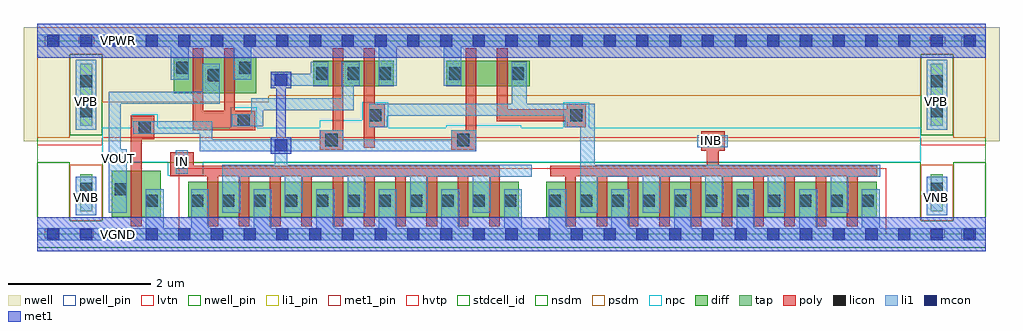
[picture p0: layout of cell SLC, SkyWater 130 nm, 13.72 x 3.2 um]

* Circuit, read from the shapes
.subckt SLC IN INB VGND VNB VOUT VPB VPWR
XM1 VGND n1 VOUT VNB sky130_fd_pr__nfet_01v8 w=0.65 l=0.15
XM2 n1 IN VGND VNB sky130_fd_pr__nfet_01v8_lvt w=0.5 l=0.15 m=10
XM3 n2 INB VGND VNB sky130_fd_pr__nfet_01v8_lvt w=0.5 l=0.15 m=10
XM4 VOUT n3 VPWR VPB sky130_fd_pr__pfet_01v8_hvt w=0.5 l=0.15 m=2
XM5 n3 n1 n1 VPB sky130_fd_pr__pfet_01v8_hvt w=0.36 l=0.15
XM6 VPWR n2 n3 VPB sky130_fd_pr__pfet_01v8_hvt w=0.36 l=0.15
XM7 n4 n1 VPWR VPB sky130_fd_pr__pfet_01v8_hvt w=0.36 l=0.15
XM8 n2 n2 n4 VPB sky130_fd_pr__pfet_01v8_hvt w=0.36 l=0.15
.ends

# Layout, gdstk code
import gdstk
lib = gdstk.Library(unit=1e-6, precision=1e-09)
def R(c, l, rs):  # rectangles x0, y0, x1, y1
    for r in rs: c.add(gdstk.rectangle(r[:2], r[2:], *l))
def A(c, l, x, y, w, h, nx, ny, dx, dy):  # array of equal rectangles
    R(c, l, [(x+i*dx, y+j*dy, x+i*dx+w, y+j*dy+h) for i in range(nx) for j in range(ny)])
def P(c, l, *ps):  # polygons
    for p in ps: c.add(gdstk.Polygon(p, *l))
nwell_pin = (64, 16)
nwell = (64, 20)
diff = (65, 20)
tap = (65, 44)
poly = (66, 20)
licon = (66, 44)
li1_pin = (67, 16)
li1 = (67, 20)
mcon = (67, 44)
met1_pin = (68, 16)
met1 = (68, 20)
hvtp = (78, 44)
stdcell_id = (81, 4)
nsdm = (93, 44)
psdm = (94, 20)
npc = (95, 20)
pwell_pin = (122, 16)
lvtn = (125, 44)

sky130_fd_sc_hd__tap_1 = lib.new_cell('sky130_fd_sc_hd__tap_1')
R(sky130_fd_sc_hd__tap_1, nwell, [(-0.19,1.305,0.65,2.91)])
R(sky130_fd_sc_hd__tap_1, tap, [(0.145,0.32,0.315,0.845), (0.145,1.525,0.315,2.4)])
R(sky130_fd_sc_hd__tap_1, licon, [(0.145,0.555,0.315,0.725), (0.145,1.645,0.315,1.815), (0.145,2.065,0.315,2.235)])
R(sky130_fd_sc_hd__tap_1, li1_pin, [(0.19,0.47,0.27,0.565), (0.145,1.81,0.285,1.93)])
R(sky130_fd_sc_hd__tap_1, li1, [(0.085,0.265,0.375,0.81), (0.085,1.47,0.375,2.455)])
R(sky130_fd_sc_hd__tap_1, mcon, [(0.145,-0.085,0.315,0.085), (0.145,2.635,0.315,2.805)])
R(sky130_fd_sc_hd__tap_1, met1_pin, [(0.14,-0.05,0.34,0.07), (0.13,2.675,0.345,2.775)])
R(sky130_fd_sc_hd__tap_1, hvtp, [(0,1.25,0.46,2.72)])
R(sky130_fd_sc_hd__tap_1, stdcell_id, [(0,0,0.46,2.72)])
R(sky130_fd_sc_hd__tap_1, nsdm, [(0,-0.19,0.46,0.19), (0,1.395,0.46,2.53)])
R(sky130_fd_sc_hd__tap_1, psdm, [(0,0.19,0.46,0.975), (0,2.53,0.46,2.91)])
sky130_fd_sc_hd__tap_1.add(gdstk.FlexPath([(0,2.72),(0.46,2.72)], 0.48, ends="flush", simple_path=True, layer=68, datatype=20))  # met1
sky130_fd_sc_hd__tap_1.add(gdstk.FlexPath([(0,0),(0.46,0)], 0.48, ends="flush", simple_path=True, layer=68, datatype=20))  # met1
sky130_fd_sc_hd__tap_1.add(gdstk.FlexPath([(0,0),(0.46,0)], 0.17, ends="flush", simple_path=True, layer=67, datatype=20))  # li1
sky130_fd_sc_hd__tap_1.add(gdstk.FlexPath([(0,2.72),(0.46,2.72)], 0.17, ends="flush", simple_path=True, layer=67, datatype=20))  # li1
sky130_fd_sc_hd__tap_1.add(gdstk.Label('VGND', (0.23,0), layer=68, texttype=5))
sky130_fd_sc_hd__tap_1.add(gdstk.Label('VPWR', (0.23,2.72), layer=68, texttype=5))
sky130_fd_sc_hd__tap_1.add(gdstk.Label('VNB', (0.23,0.51), layer=67, texttype=5))
sky130_fd_sc_hd__tap_1.add(gdstk.Label('VPB', (0.23,1.87), layer=67, texttype=5))
sky130_fd_sc_hd__tap_1.add(gdstk.Label('tap_1', (0,0), layer=83, texttype=44))

sky130_fd_sc_hd__fill_1 = lib.new_cell('sky130_fd_sc_hd__fill_1')
R(sky130_fd_sc_hd__fill_1, nwell_pin, [(0.155,2.67,0.255,2.755)])
R(sky130_fd_sc_hd__fill_1, nwell, [(-0.19,1.305,0.65,2.91)])
R(sky130_fd_sc_hd__fill_1, mcon, [(0.145,-0.085,0.315,0.085), (0.145,2.635,0.315,2.805)])
R(sky130_fd_sc_hd__fill_1, met1_pin, [(0.11,-0.065,0.29,0.08), (0.11,2.635,0.29,2.785)])
R(sky130_fd_sc_hd__fill_1, hvtp, [(0,1.25,0.46,2.72)])
R(sky130_fd_sc_hd__fill_1, stdcell_id, [(0,0,0.46,2.72)])
R(sky130_fd_sc_hd__fill_1, nsdm, [(0,-0.19,0.46,1.015)])
R(sky130_fd_sc_hd__fill_1, psdm, [(0,1.355,0.46,2.91)])
R(sky130_fd_sc_hd__fill_1, pwell_pin, [(0.14,-0.055,0.26,0.055)])
sky130_fd_sc_hd__fill_1.add(gdstk.FlexPath([(0,0),(0.46,0)], 0.17, ends="flush", simple_path=True, layer=67, datatype=20))  # li1
sky130_fd_sc_hd__fill_1.add(gdstk.FlexPath([(0,2.72),(0.46,2.72)], 0.17, ends="flush", simple_path=True, layer=67, datatype=20))  # li1
sky130_fd_sc_hd__fill_1.add(gdstk.FlexPath([(0,2.72),(0.46,2.72)], 0.48, ends="flush", simple_path=True, layer=68, datatype=20))  # met1
sky130_fd_sc_hd__fill_1.add(gdstk.FlexPath([(0,0),(0.46,0)], 0.48, ends="flush", simple_path=True, layer=68, datatype=20))  # met1
sky130_fd_sc_hd__fill_1.add(gdstk.Label('VPWR', (0.205,2.72), layer=68, texttype=5))
sky130_fd_sc_hd__fill_1.add(gdstk.Label('VGND', (0.205,0), layer=68, texttype=5))
sky130_fd_sc_hd__fill_1.add(gdstk.Label('VPB', (0.23,2.72), layer=64, texttype=5))
sky130_fd_sc_hd__fill_1.add(gdstk.Label('VNB', (0.23,0), layer=64, texttype=59))
sky130_fd_sc_hd__fill_1.add(gdstk.Label('fill_1', (0,0), layer=83, texttype=44))

slc = lib.new_cell('SLC')
R(slc, nwell, [(0.73,1.305,12.61,2.91)])
R(slc, diff, [(1.05,0.24,1.74,0.89), (2.125,0.24,6.775,0.74), (7.155,0.24,11.805,0.74), (1.92,1.985,3.085,2.485), (3.885,2.08,5.015,2.44), (5.755,2.08,6.925,2.44)])
A(slc, poly, 2.395, 0.11, 0.15, 0.84, 10, 1, 0.44, 0)
A(slc, poly, 8.745, 0.11, 0.15, 0.84, 7, 1, 0.44, 0)
R(slc, poly, [(1.32,0.11,1.47,1.665), (7.425,0.11,7.575,0.965), (7.865,0.11,8.015,0.95), (8.305,0.11,8.455,0.965), (1.87,0.815,6.505,0.965), (7.215,0.815,11.81,0.965), (9.415,0.815,9.585,1.325), (1.87,0.88,2.2,1.15), (9.335,1.175,9.665,1.445), (3.975,1.19,4.305,1.46), (4.155,1.19,4.305,2.615), (5.825,1.19,6.155,1.46), (6.025,1.19,6.175,2.615), (4.595,1.215,4.745,2.615), (1.38,1.335,1.65,1.665), (2.19,1.465,2.34,2.615), (2.3,1.465,2.63,1.735), (2.63,1.465,3.07,1.735), (2.63,1.465,2.78,2.615), (4.67,1.505,4.89,1.835), (7.445,1.505,7.715,1.835), (6.465,1.585,7.515,1.755), (6.465,1.585,6.615,2.615)])
A(slc, licon, 2.165, 0.385, 0.17, 0.17, 11, 1, 0.44, 0)
A(slc, licon, 7.195, 0.385, 0.17, 0.17, 11, 1, 0.44, 0)
A(slc, licon, 3.925, 2.175, 0.17, 0.17, 3, 1, 0.44, 0)
R(slc, licon, [(1.53,0.385,1.7,0.555), (1.09,0.545,1.26,0.715), (1.95,0.93,2.12,1.1), (9.415,1.225,9.585,1.395), (4.055,1.24,4.225,1.41), (5.905,1.24,6.075,1.41), (1.43,1.415,1.6,1.585), (2.82,1.515,2.99,1.685), (4.67,1.585,4.84,1.755), (7.495,1.585,7.665,1.755), (2.4,2.15,2.57,2.32), (5.795,2.175,5.965,2.345), (6.675,2.175,6.845,2.345), (1.96,2.255,2.13,2.425), (2.84,2.255,3.01,2.425)])
R(slc, li1_pin, [(1.065,-0.085,1.235,0.085), (1.07,-0.055,1.25,0.075), (0.65,0.47,0.73,0.565), (12.61,0.47,12.69,0.565), (1.955,0.975,2.115,1.08), (1.03,1.005,1.23,1.145), (9.39,1.27,9.55,1.375), (0.605,1.81,0.745,1.93), (12.565,1.81,12.705,1.93), (1.065,2.635,1.235,2.805)])
A(slc, li1, 2.165, 0, 0.25, 0.635, 3, 1, 0.88, 0)
A(slc, li1, 7.195, 0, 0.25, 0.635, 4, 1, 0.88, 0)
R(slc, li1, [(0.92,-0.085,12.42,0.085), (1.53,0,1.78,0.635), (5.685,0,5.935,0.635), (6.565,0,6.815,0.635), (11.595,0,11.845,0.635), (4.805,0.01,5.055,0.635), (10.715,0.01,10.965,0.635), (1.01,0.305,1.26,1.195), (1.01,0.305,1.18,2.005), (6.125,0.305,6.375,0.805), (7.635,0.305,7.885,0.955), (3.345,0.805,3.515,1.335), (7.635,0.805,8.515,0.975), (1.95,0.85,2.12,1.18), (7.635,0.975,7.84,1.505), (2.29,1.165,6.175,1.335), (2.29,1.165,2.46,1.585), (5.825,1.165,6.175,1.46), (3.975,1.19,4.305,1.46), (9.28,1.225,9.71,1.395), (1.35,1.415,2.46,1.585), (4.67,1.505,4.92,1.835), (7.42,1.505,7.84,1.835), (2.74,1.515,3.18,1.685), (3.01,1.515,3.18,1.82), (4.92,1.665,7.835,1.835), (6.675,1.665,6.885,2.425), (3.01,1.745,4.455,1.915), (4.285,1.745,4.455,2.085), (1.01,1.835,2.425,2.005), (2.32,1.835,2.57,2.4), (3.285,2.085,3.845,2.255), (3.845,2.085,4.095,2.425), (4.285,2.085,4.535,2.425)])
P(slc, li1, [(12.42,2.805),(0.92,2.805),(0.92,2.635),(1.88,2.635),(1.88,2.175),(2.13,2.175),(2.13,2.635),(2.76,2.635),(2.76,2.175),(3.01,2.175),(3.01,2.635),(4.805,2.635),(4.805,2.085),(5.055,2.085),(5.055,2.635),(5.715,2.635),(5.715,2.085),(5.965,2.085),(5.965,2.635),(12.42,2.635)],
  [(11.855,0.975),(8.515,0.975),(8.515,0.305),(8.765,0.305),(8.765,0.805),(9.395,0.805),(9.395,0.305),(9.645,0.305),(9.645,0.805),(10.275,0.805),(10.275,0.305),(10.525,0.305),(10.525,0.805),(11.155,0.805),(11.155,0.305),(11.405,0.305),(11.405,0.805),(11.855,0.805)],
  [(6.955,0.975),(2.605,0.975),(2.605,0.305),(2.855,0.305),(2.855,0.805),(3.485,0.805),(3.485,0.305),(3.735,0.305),(3.735,0.805),(4.365,0.805),(4.365,0.305),(4.615,0.305),(4.615,0.805),(5.245,0.805),(5.245,0.305),(5.495,0.305),(5.495,0.805),(6.955,0.805)])
A(slc, mcon, 1.065, -0.085, 0.17, 0.17, 25, 2, 0.46, 2.72)
R(slc, mcon, [(3.345,1.165,3.515,1.335), (3.345,2.085,3.515,2.255)])
R(slc, met1_pin, [(1.065,-0.085,1.235,0.085), (1.065,2.635,1.235,2.805)])
R(slc, met1, [(0.92,-0.24,12.42,0.24), (3.285,1.135,3.575,1.365), (3.36,1.315,3.5,2.055), (3.285,2.055,3.575,2.285), (0.92,2.48,12.42,2.96)])
R(slc, hvtp, [(0.92,1.355,12.42,2.72)])
R(slc, stdcell_id, [(0.92,0,12.42,2.72)])
R(slc, nsdm, [(0.92,-0.19,12.42,1.015)])
P(slc, psdm, [(0.92,1.855),(3.26,1.855),(3.26,1.95),(12.42,1.95),(12.42,2.91),(0.92,2.91)])
P(slc, npc, [(12.42,1.495),(7.765,1.495),(7.765,1.855),(7.395,1.855),(7.395,1.495),(6.81,1.495),(6.81,1.535),(5.755,1.535),(5.755,1.495),(4.94,1.495),(4.94,1.855),(4.57,1.855),(4.57,1.605),(3.975,1.605),(3.975,1.495),(3.09,1.495),(3.09,1.785),(2.72,1.785),(2.72,1.495),(1.7,1.495),(1.7,1.685),(1.33,1.685),(1.33,1.495),(0.92,1.495),(0.92,1.01),(1.835,1.01),(1.835,0.82),(2.335,0.82),(2.335,1.01),(12.42,1.01)])
R(slc, lvtn, [(1.995,0,11.94,0.93)])
slc.add(gdstk.Reference(sky130_fd_sc_hd__tap_1, (0.46,0)))
slc.add(gdstk.Reference(sky130_fd_sc_hd__tap_1, (12.42,0)))
slc.add(gdstk.Reference(sky130_fd_sc_hd__fill_1, (0,0)))
slc.add(gdstk.Reference(sky130_fd_sc_hd__fill_1, (12.88,0)))
slc.add(gdstk.Label('VPB', (0.69,1.87), layer=67, texttype=5))
slc.add(gdstk.Label('VNB', (0.69,0.51), layer=67, texttype=5))
slc.add(gdstk.Label('VPB', (12.65,1.87), layer=67, texttype=5))
slc.add(gdstk.Label('VNB', (12.65,0.51), layer=67, texttype=5))
slc.add(gdstk.Label('VGND', (1.15,0), layer=67, texttype=5))
slc.add(gdstk.Label('VPWR', (1.15,2.72), layer=67, texttype=5))
slc.add(gdstk.Label('VOUT', (1.14,1.07), layer=67, texttype=5))
slc.add(gdstk.Label('INB', (9.48,1.32), layer=67, texttype=5))
slc.add(gdstk.Label('IN', (2.045,1.025), layer=67, texttype=5))
slc.add(gdstk.Label('VPWR', (1.15,2.72), layer=68, texttype=16))
slc.add(gdstk.Label('VGND', (1.15,0), layer=68, texttype=16))
slc.add(gdstk.Label('vpwr', (1.15,2.72), layer=68, texttype=5))

lib.write_gds('SLC.gds')
